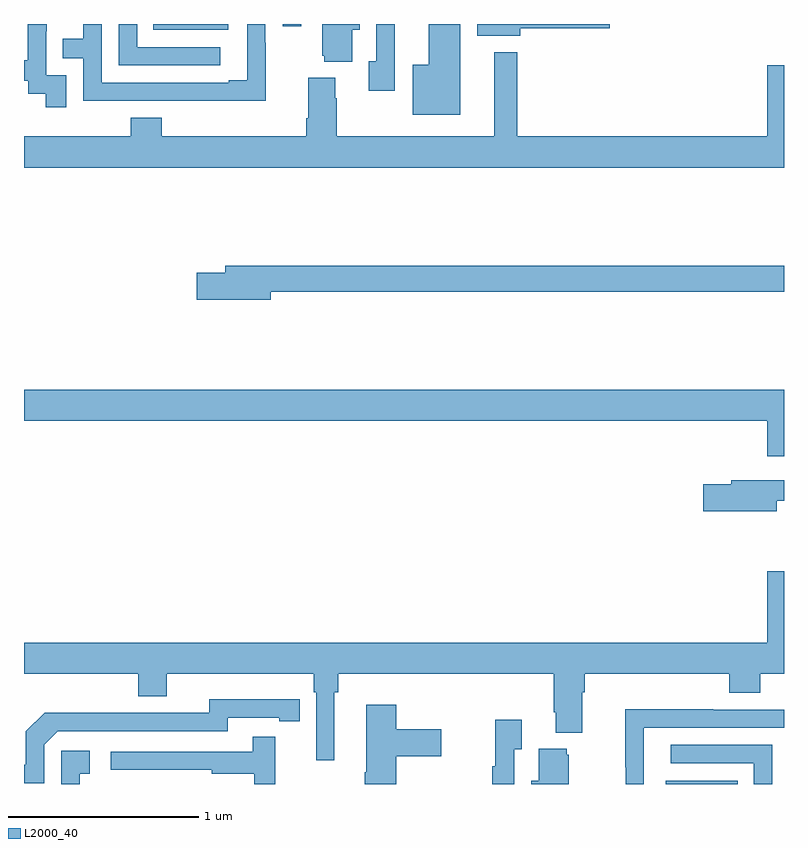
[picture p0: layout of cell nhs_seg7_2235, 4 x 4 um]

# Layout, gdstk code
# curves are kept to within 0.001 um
import gdstk
lib = gdstk.Library(unit=1e-6, precision=1e-09)
def R(c, l, rs):  # rectangles x0, y0, x1, y1
    for r in rs: c.add(gdstk.rectangle(r[:2], r[2:], *l))
def P(c, l, *ps):  # polygons
    for p in ps: c.add(gdstk.Polygon(p, *l))
L2000_40 = (2000, 40)

nhs_seg7_2235 = lib.new_cell('nhs_seg7_2235')
R(nhs_seg7_2235, L2000_40, [(260.378,1036,260.756,1036.018), (257.68,1039.97,258.076,1040), (258.363,1039.989,258.459,1040)])
P(nhs_seg7_2235, L2000_40, [(258.034,1039.878),(257.595,1039.878),(257.595,1040),(257.499,1040),(257.499,1039.782),(258.034,1039.782)],
  [(258.273,1039.901),(258.27,1039.901),(258.27,1040),(258.174,1040),(258.174,1039.705),(258.077,1039.705),(258.077,1039.692),(257.409,1039.692),(257.409,1040),(257.313,1040),(257.313,1039.922),(257.203,1039.922),(257.203,1039.821),(257.313,1039.821),(257.313,1039.596),(257.809,1039.596),(257.809,1039.595),(258.273,1039.595)],
  [(259.297,1040),(259.13,1040),(259.13,1039.786),(259.046,1039.786),(259.046,1039.523),(259.297,1039.523)],
  [(257.223,1039.731),(257.118,1039.731),(257.118,1039.961),(257.12,1039.961),(257.12,1040),(257.021,1040),(257.021,1039.81),(257,1039.81),(257,1039.701),(257.022,1039.701),(257.022,1039.632),(257.115,1039.632),(257.115,1039.563),(257.223,1039.563)],
  [(258.952,1040),(258.855,1040),(258.855,1039.805),(258.815,1039.805),(258.815,1039.65),(258.952,1039.65)],
  [(259.612,1039.978),(260.083,1039.978),(260.083,1040),(259.385,1040),(259.385,1039.937),(259.612,1039.937)],
  [(258.727,1039.97),(258.766,1039.97),(258.766,1040),(258.569,1040),(258.569,1039.833),(258.581,1039.833),(258.581,1039.802),(258.727,1039.802)],
  [(261,1039.783),(260.912,1039.783),(260.912,1039.408),(259.597,1039.408),(259.597,1039.852),(259.475,1039.852),(259.475,1039.408),(258.645,1039.408),(258.645,1039.61),(258.637,1039.61),(258.637,1039.717),(258.497,1039.717),(258.497,1039.504),(258.485,1039.504),(258.485,1039.408),(257.726,1039.408),(257.726,1039.507),(257.561,1039.507),(257.561,1039.408),(257,1039.408),(257,1039.244),(261,1039.244)],
  [(258.298,1038.592),(261,1038.592),(261,1038.728),(258.059,1038.728),(258.059,1038.692),(257.91,1038.692),(257.91,1038.55),(258.298,1038.55)],
  [(261,1038.076),(257,1038.076),(257,1037.912),(260.912,1037.912),(260.912,1037.724),(261,1037.724)],
  [(260.962,1037.49),(261,1037.49),(261,1037.598),(260.723,1037.598),(260.723,1037.577),(260.574,1037.577),(260.574,1037.435),(260.962,1037.435)],
  [(258.634,1036.484),(258.653,1036.484),(258.653,1036.58),(259.787,1036.58),(259.787,1036.378),(259.799,1036.378),(259.799,1036.271),(259.939,1036.271),(259.939,1036.484),(259.952,1036.484),(259.952,1036.58),(260.711,1036.58),(260.711,1036.481),(260.876,1036.481),(260.876,1036.58),(261,1036.58),(261,1037.119),(260.912,1037.119),(260.912,1036.744),(257,1036.744),(257,1036.58),(257.6,1036.58),(257.6,1036.463),(257.752,1036.463),(257.752,1036.58),(258.524,1036.58),(258.524,1036.484),(258.537,1036.484),(258.537,1036.125),(258.634,1036.125)],
  [(257.106,1036.206),(257.178,1036.278),(258.072,1036.278),(258.072,1036.35),(258.344,1036.35),(258.344,1036.33),(258.452,1036.33),(258.452,1036.446),(257.976,1036.447),(257.976,1036.374),(257.516,1036.374),(257.516,1036.376),(257.108,1036.376),(257.01,1036.278),(257.01,1036.101),(257,1036.101),(257,1036.005),(257.106,1036.005)],
  [(258.959,1036.145),(259.195,1036.145),(259.195,1036.287),(258.959,1036.287),(258.959,1036.417),(258.8,1036.417),(258.8,1036.061),(258.793,1036.061),(258.793,1036),(258.959,1036)],
  [(260.262,1036.296),(261,1036.296),(261,1036.392),(260.627,1036.392),(260.627,1036.394),(260.164,1036.394),(260.164,1036.087),(260.166,1036.087),(260.166,1036),(260.262,1036)],
  [(259.581,1036.183),(259.621,1036.183),(259.621,1036.339),(259.48,1036.339),(259.48,1036.094),(259.465,1036.094),(259.465,1036),(259.581,1036)],
  [(258.323,1036.249),(258.205,1036.249),(258.205,1036.17),(257.457,1036.17),(257.457,1036.074),(257.989,1036.074),(257.989,1036.054),(258.213,1036.054),(258.213,1036),(258.323,1036)],
  [(260.937,1036.206),(260.403,1036.206),(260.403,1036.11),(260.841,1036.11),(260.841,1036),(260.937,1036)],
  [(259.867,1036.155),(259.856,1036.155),(259.856,1036.186),(259.709,1036.186),(259.709,1036.018),(259.67,1036.018),(259.67,1036),(259.867,1036)],
  [(257.294,1036.053),(257.347,1036.053),(257.347,1036.174),(257.196,1036.174),(257.196,1036),(257.294,1036)])

lib.write_gds('nhs_seg7_2235.gds')
